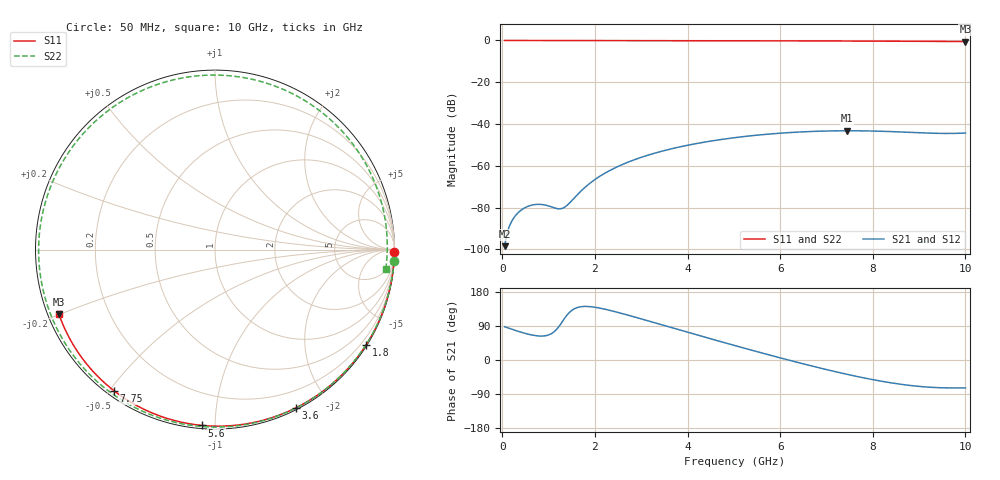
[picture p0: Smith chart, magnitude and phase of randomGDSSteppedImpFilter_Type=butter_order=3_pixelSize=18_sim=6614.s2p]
! freq	dB(S11)	phase(S11)	dB(S12)	phase(S12)
!  dB(S21)	phase(S21)	dB(S22)	phase(S22)
!S-par simulation data
#  GHz  S  DB  R 50
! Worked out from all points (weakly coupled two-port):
!   200 points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, 50 MHz to 10 GHz, reference 50 ohm
!   highest |S21| = -43.22 dB at 7.45 GHz (marker M1); lowest = -98.5 dB at 50 MHz (marker M2)
!   lowest |S11| = -0.5 dB at 10 GHz (marker M3), VSWR 32.91, Z = 1.58 - j9.91 ohm
!   |S11| at or under -10 dB: nowhere
!   |S22| runs from -0.4 to 0.0 dB; largest |S21 - S12| = 0
!   S11 on the Smith chart (normalised r, x): 50 MHz: open; 1.8 GHz: 0.03, -3.45; 3.6 GHz: 0.02, -1.63; 5.6 GHz: 0.02, -0.93; 7.75 GHz: 0.02, -0.51; 10 GHz: 0.03, -0.20
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0.05  -0.00 -0.9  -98.46 87.9  -98.46 87.9  -0.00 -3.5
0.45  -0.01 -8.2  -80.55 71.7  -80.55 71.7  -0.04 -30.7
0.7  -0.02 -12.7  -78.56 64.6  -78.56 64.6  -0.06 -47.0
0.9  -0.02 -16.3  -78.67 63.5  -78.67 63.5  -0.07 -59.4
1.1  -0.02 -19.9  -79.94 72.7  -79.94 72.7  -0.08 -71.3
1.35  -0.03 -24.4  -79.77 110.8  -79.77 110.8  -0.09 -85.2
1.75  -0.04 -31.4  -71.00 141.2  -71.00 141.2  -0.11 -105.5
1.8  -0.04 -32.3  -70.02 141.4  -70.02 141.4  -0.11 -107.8
2.15  -0.05 -38.4  -64.39 135.8  -64.39 135.8  -0.12 -123.5
2.6  -0.06 -46.2  -59.30 122.2  -59.30 122.2  -0.13 -141.6
3.4  -0.08 -59.6  -53.28 94.5  -53.28 94.5  -0.14 -169.8
3.6  -0.08 -62.9  -52.14 87.4  -52.14 87.4  -0.15 -176.3
4.3  -0.11 -74.2  -48.91 62.9  -48.91 62.9  -0.17 162.1
5.05  -0.13 -85.9  -46.44 37.1  -46.44 37.1  -0.19 140.1
5.6  -0.16 -94.3  -45.12 18.7  -45.12 18.7  -0.21 124.2
6.15  -0.18 -102.5  -44.16 0.8  -44.16 0.8  -0.23 108.3
6.7  -0.22 -110.5  -43.54 -16.3  -43.54 -16.3  -0.24 92.2
7.45  -0.27 -121.3  -43.22 -38.0  -43.22 -38.0  -0.26 70.0
7.75  -0.29 -125.6  -43.26 -45.8  -43.26 -45.8  -0.27 61.0
8.35  -0.34 -134.1  -43.58 -59.4  -43.58 -59.4  -0.28 42.9
9.2  -0.43 -146.1  -44.33 -71.6  -44.33 -71.6  -0.32 17.3
10  -0.53 -157.6  -44.29 -73.7  -44.29 -73.7  -0.38 -6.4
